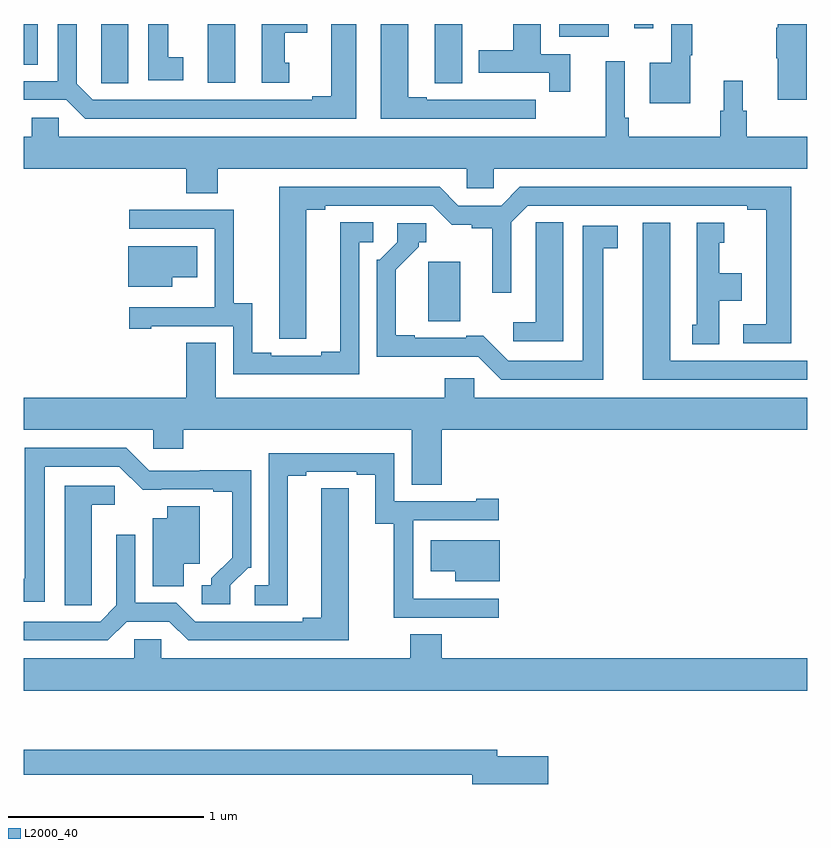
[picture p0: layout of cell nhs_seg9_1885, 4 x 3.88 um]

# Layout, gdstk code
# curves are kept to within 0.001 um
import gdstk
lib = gdstk.Library(unit=1e-6, precision=1e-09)
def R(c, l, rs):  # rectangles x0, y0, x1, y1
    for r in rs: c.add(gdstk.rectangle(r[:2], r[2:], *l))
def P(c, l, *ps):  # polygons
    for p in ps: c.add(gdstk.Polygon(p, *l))
L2000_40 = (2000, 40)

nhs_seg9_1885 = lib.new_cell('nhs_seg9_1885')
R(nhs_seg9_1885, L2000_40, [(217.94,1190.199,218.08,1190.5), (217,1190.293,217.072,1190.5), (219.734,1190.435,219.988,1190.5), (220.118,1190.478,220.215,1190.5)])
P(nhs_seg9_1885, L2000_40, [(218.698,1190.5),(218.57,1190.5),(218.57,1190.132),(218.474,1190.132),(218.474,1190.112),(217.353,1190.112),(217.269,1190.196),(217.269,1190.5),(217.173,1190.5),(217.173,1190.208),(217,1190.208),(217,1190.112),(217.217,1190.112),(217.313,1190.016),(218.698,1190.016)],
  [(219.791,1190.346),(219.64,1190.346),(219.64,1190.5),(219.5,1190.5),(219.5,1190.367),(219.323,1190.367),(219.323,1190.25),(219.682,1190.25),(219.682,1190.154),(219.791,1190.154)],
  [(219.613,1190.112),(219.5,1190.112),(219.5,1190.113),(219.334,1190.113),(219.334,1190.112),(219.058,1190.112),(219.058,1190.127),(218.962,1190.127),(218.962,1190.5),(218.822,1190.5),(218.822,1190.016),(219.613,1190.016)],
  [(220.402,1190.34),(220.414,1190.34),(220.414,1190.5),(220.305,1190.5),(220.305,1190.302),(220.196,1190.302),(220.196,1190.096),(220.402,1190.096)],
  [(219.238,1190.5),(219.098,1190.5),(219.098,1190.305),(219.099,1190.305),(219.099,1190.197),(219.238,1190.197)],
  [(218.356,1190.301),(218.332,1190.301),(218.332,1190.456),(218.446,1190.456),(218.446,1190.5),(218.216,1190.5),(218.216,1190.199),(218.356,1190.199)],
  [(217.813,1190.33),(217.738,1190.33),(217.738,1190.5),(217.634,1190.5),(217.634,1190.214),(217.813,1190.214)],
  [(217.534,1190.5),(217.394,1190.5),(217.394,1190.305),(217.395,1190.305),(217.395,1190.197),(217.534,1190.197)],
  [(220.997,1190.5),(220.85,1190.5),(220.85,1190.48),(220.843,1190.48),(220.843,1190.324),(220.85,1190.324),(220.85,1190.112),(220.997,1190.112)],
  [(217.989,1189.76),(219.261,1189.76),(219.261,1189.662),(219.399,1189.662),(219.399,1189.76),(221,1189.76),(221,1189.924),(220.691,1189.924),(220.691,1190.058),(220.672,1190.058),(220.672,1190.209),(220.574,1190.209),(220.574,1190.058),(220.555,1190.058),(220.555,1189.924),(220.088,1189.924),(220.088,1190.02),(220.068,1190.02),(220.068,1190.311),(219.971,1190.311),(219.971,1189.924),(217.179,1189.924),(217.179,1190.022),(217.041,1190.022),(217.041,1189.924),(217,1189.924),(217,1189.76),(217.829,1189.76),(217.829,1189.636),(217.989,1189.636)],
  [(220.918,1189.668),(219.533,1189.668),(219.437,1189.572),(219.219,1189.572),(219.123,1189.668),(218.303,1189.668),(218.304,1188.892),(218.443,1188.892),(218.443,1189.552),(218.539,1189.552),(218.539,1189.572),(219.087,1189.572),(219.185,1189.475),(219.288,1189.475),(219.288,1189.456),(219.392,1189.456),(219.392,1189.128),(219.489,1189.128),(219.489,1189.488),(219.573,1189.572),(220.694,1189.572),(220.694,1189.552),(220.79,1189.552),(220.79,1188.966),(220.674,1188.966),(220.674,1188.87),(220.918,1188.87)],
  [(218.712,1189.386),(218.785,1189.386),(218.785,1189.487),(218.615,1189.487),(218.615,1188.827),(218.519,1188.827),(218.519,1188.807),(218.263,1188.807),(218.263,1188.822),(218.167,1188.822),(218.167,1189.073),(218.073,1189.073),(218.073,1189.551),(217.539,1189.551),(217.539,1189.455),(217.974,1189.455),(217.974,1189.054),(217.973,1189.054),(217.973,1189.053),(217.539,1189.053),(217.539,1188.945),(217.651,1188.945),(217.651,1188.957),(218.07,1188.957),(218.07,1188.711),(218.712,1188.711)],
  [(219.754,1189.487),(219.615,1189.487),(219.615,1189.379),(219.614,1189.379),(219.614,1188.976),(219.498,1188.976),(219.498,1188.879),(219.754,1188.879)],
  [(220.552,1189.088),(220.666,1189.088),(220.666,1189.228),(220.552,1189.228),(220.552,1189.383),(220.576,1189.383),(220.576,1189.486),(220.436,1189.486),(220.436,1188.963),(220.412,1188.963),(220.412,1188.865),(220.552,1188.865)],
  [(221,1188.78),(220.3,1188.78),(220.3,1189.486),(220.16,1189.486),(220.16,1188.684),(221,1188.684)],
  [(219.958,1189.354),(220.033,1189.354),(220.033,1189.47),(219.854,1189.47),(219.854,1188.78),(219.474,1188.78),(219.346,1188.908),(219.26,1188.908),(219.26,1188.897),(218.995,1188.897),(218.995,1188.91),(218.899,1188.91),(218.899,1189.246),(219.016,1189.363),(219.016,1189.386),(219.055,1189.386),(219.055,1189.482),(218.907,1189.482),(218.907,1189.386),(218.817,1189.296),(218.802,1189.296),(218.802,1188.8),(219.321,1188.801),(219.438,1188.684),(219.958,1188.684)],
  [(217.759,1189.208),(217.885,1189.208),(217.885,1189.366),(217.532,1189.366),(217.532,1189.157),(217.759,1189.157)],
  [(219.228,1189.14),(219.229,1189.14),(219.229,1189.285),(219.065,1189.285),(219.065,1188.982),(219.228,1188.982)],
  [(219.134,1188.428),(221,1188.428),(221,1188.592),(219.3,1188.592),(219.3,1188.69),(219.149,1188.69),(219.149,1188.592),(217.981,1188.592),(217.981,1188.872),(217.829,1188.872),(217.829,1188.592),(217,1188.592),(217,1188.428),(217.662,1188.428),(217.662,1188.33),(217.814,1188.33),(217.814,1188.428),(218.981,1188.428),(218.981,1188.148),(219.134,1188.148)],
  [(218.055,1187.634),(218.145,1187.724),(218.16,1187.724),(218.16,1188.221),(217.897,1188.221),(217.897,1188.219),(217.641,1188.219),(217.524,1188.336),(217.004,1188.336),(217.004,1187.666),(217,1187.666),(217,1187.55),(217.108,1187.55),(217.108,1188.24),(217.488,1188.24),(217.606,1188.122),(217.967,1188.123),(217.967,1188.111),(218.063,1188.111),(218.063,1187.774),(217.958,1187.669),(217.958,1187.634),(217.908,1187.634),(217.908,1187.538),(218.055,1187.538)],
  [(219.424,1187.565),(218.99,1187.565),(218.99,1187.566),(218.988,1187.566),(218.988,1187.967),(219.424,1187.967),(219.424,1188.076),(219.311,1188.076),(219.311,1188.063),(218.892,1188.063),(218.892,1188.309),(218.25,1188.309),(218.25,1187.634),(218.178,1187.634),(218.178,1187.533),(218.347,1187.533),(218.347,1188.193),(218.443,1188.193),(218.443,1188.213),(218.699,1188.213),(218.699,1188.198),(218.795,1188.198),(218.795,1187.947),(218.89,1187.947),(218.89,1187.469),(219.424,1187.469)],
  [(217.347,1187.641),(217.348,1187.641),(217.348,1188.044),(217.465,1188.044),(217.465,1188.141),(217.208,1188.141),(217.208,1187.533),(217.347,1187.533)],
  [(217.525,1187.448),(217.743,1187.448),(217.839,1187.352),(218.659,1187.352),(218.658,1188.128),(218.519,1188.128),(218.519,1187.468),(218.423,1187.468),(218.423,1187.448),(217.875,1187.448),(217.779,1187.544),(217.569,1187.544),(217.569,1187.893),(217.473,1187.893),(217.473,1187.532),(217.389,1187.448),(217,1187.448),(217,1187.352),(217.429,1187.352)],
  [(217.816,1187.744),(217.897,1187.744),(217.897,1188.038),(217.733,1188.038),(217.733,1187.977),(217.658,1187.977),(217.658,1187.629),(217.816,1187.629)],
  [(219.43,1187.863),(219.078,1187.863),(219.078,1187.705),(219.203,1187.705),(219.203,1187.654),(219.43,1187.654)],
  [(221,1187.26),(219.134,1187.26),(219.134,1187.384),(218.974,1187.384),(218.974,1187.26),(217.701,1187.26),(217.701,1187.358),(217.563,1187.358),(217.563,1187.26),(217,1187.26),(217,1187.096),(221,1187.096)],
  [(219.679,1186.761),(219.418,1186.761),(219.418,1186.795),(217,1186.795),(217,1186.666),(219.29,1186.666),(219.29,1186.619),(219.679,1186.619)])

lib.write_gds('nhs_seg9_1885.gds')
